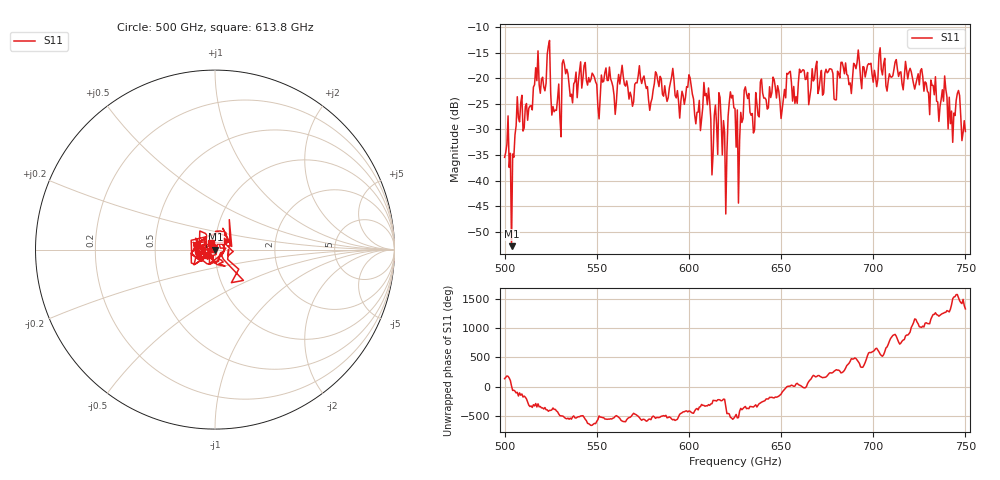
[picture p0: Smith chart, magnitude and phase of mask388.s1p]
!Created with skrf (http://scikit-rf.org).
# GHz S MA R 50.0
!freq magS11 angS11
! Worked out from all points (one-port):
!   401 points, 500 GHz to 750 GHz, reference 50 ohm
!   lowest |S11| = -52.8 dB at 503.8 GHz (marker M1), VSWR 1.00, Z = 50.2 + j0.0435 ohm
!   |S11| at or under -10 dB: start of sweep to end of sweep
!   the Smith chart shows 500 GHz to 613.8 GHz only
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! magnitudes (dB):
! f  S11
! 500 GHz  -35.4
! 503.8 GHz  -52.8
! 508.1 GHz  -28.5
! 513.8 GHz  -25.4
! 516.9 GHz  -18.0
! 523.8 GHz  -13.7
! 526.9 GHz  -26.5
! 531.2 GHz  -17.1
! 532.5 GHz  -17.4
! 562.5 GHz  -21.1
! 593.8 GHz  -22.4
! 609.4 GHz  -23.0
! 612.5 GHz  -38.9
! 617.5 GHz  -28.2
! 619.4 GHz  -30.6
! 622.5 GHz  -22.7
! 625 GHz  -25.9
! 626.9 GHz  -44.4
! 631.2 GHz  -23.0
! 634.4 GHz  -26.9
! 640 GHz  -22.9
! 656.2 GHz  -24.5
! 687.5 GHz  -20.9
! 718.8 GHz  -20.1
! 738.8 GHz  -19.6
! 741.9 GHz  -28.9
! 746.2 GHz  -22.4
! 750 GHz  -30.4
